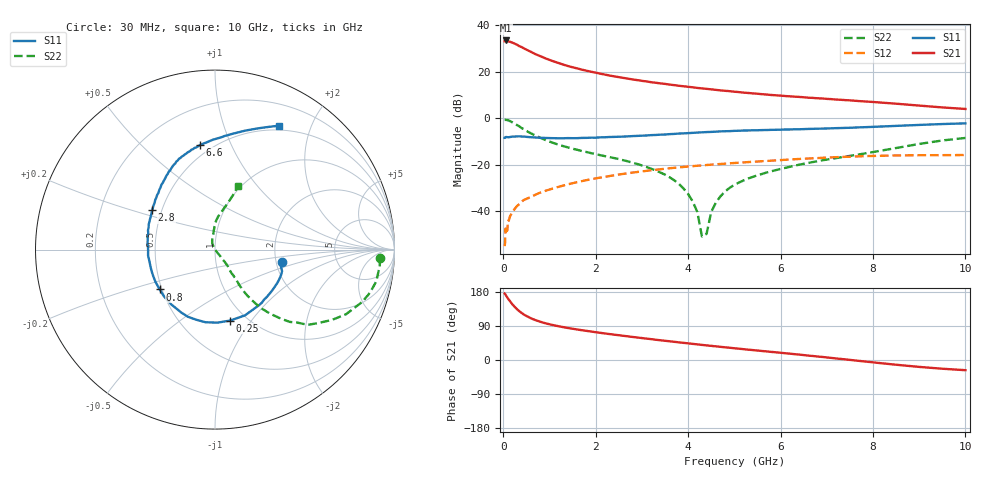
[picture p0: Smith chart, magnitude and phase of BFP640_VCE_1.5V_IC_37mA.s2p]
! (c) 2013  Infineon Technologies AG, Munich
! Infineon Technologies  Discrete & RF Semiconductors
! BFP640
! VCE =  1.5 V,  IC =  37 mA
! Common Emitter S-Parameters:  Apr 2013
# GHz  S  MA  R  50
!  f  S11  S21  S12  S22
! GHz  MAG  ANG  MAG  ANG  MAG  ANG  MAG  ANG
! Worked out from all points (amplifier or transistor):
!   99 points, 30 MHz to 10 GHz, reference 50 ohm
!   highest |S21| = 33.3 dB at 60 MHz (marker M1)
!   |S21| within 3 dB of that: start of sweep to 413.7 MHz
!   unconditionally stable (mu >= 1): 1.597 GHz to end of sweep
!   at 350 MHz: K = 0.48, MSG = 33.9 dB, |S12| = -36.8 dB
!   at 3.5 GHz: K = 1.09, MAG = 16.4 dB, |S12| = -21.7 dB
!   at 10 GHz: K = 1.09, MAG = 8.1 dB, |S12| = -15.8 dB
!   S11 on the Smith chart (normalised r, x): 30 MHz: 2.15, -0.35; 250 MHz: 0.84, -0.80; 800 MHz: 0.49, -0.25; 2.8 GHz: 0.44, +0.23; 6.6 GHz: 0.43, +0.77; 10 GHz: 0.45, +1.55
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0.03  0.3786 -10.7  44.82 175.4  0.0018 80.1  0.9181 -2.8
0.06  0.3945 -21.0  46.5 170.2  0.0037 85.1  0.9192 -7.5
0.09  0.3919 -31.8  45.59 164.4  0.004 75.6  0.912 -11.9
0.15  0.3952 -51.6  43.54 154.6  0.008 75.0  0.8625 -20.4
0.2  0.4028 -65.6  41.6 146.7  0.0096 70.7  0.8138 -26.3
0.25  0.4042 -77.9  39.67 140.0  0.0114 67.8  0.7605 -31.0
0.3  0.4072 -88.1  37.56 133.9  0.0132 65.5  0.7097 -35.1
0.35  0.4082 -97.5  35.01 128.6  0.0144 63.7  0.6662 -39.0
0.45  0.4035 -111.9  31.32 119.7  0.0177 63.0  0.5801 -44.0
0.6  0.3907 -128.5  26.45 110.1  0.0205 60.9  0.4729 -49.2
0.8  0.3796 -144.2  21.46 101.0  0.0253 60.6  0.3813 -52.9
1.1  0.3728 -162.0  16.4 91.5  0.0316 59.7  0.2908 -55.3
1.4  0.3744 -175.0  13.15 84.5  0.0383 59.0  0.2364 -55.5
1.7  0.3777 174.7  11 78.6  0.0447 57.4  0.1979 -54.6
2.8  0.4134 147.9  6.778 60.8  0.0681 50.2  0.1108 -52.1
3.4  0.4438 136.5  5.579 52.1  0.0803 45.0  0.0684 -52.8
4.3  0.4976 122.0  4.357 39.8  0.0972 37.1  0.0029 -51.0
5.1  0.5383 112.7  3.629 29.8  0.1111 30.1  0.0417 110.9
6.6  0.5884 98.1  2.753 11.6  0.1366 16.9  0.1098 93.2
6.7  0.5913 97.1  2.724 10.5  0.1382 16.0  0.1148 92.5
8.5  0.6842 75.7  2.047 -12.5  0.1589 -2.3  0.2292 78.3
10  0.7756 62.8  1.578 -26.9  0.1623 -13.9  0.377 70.2
